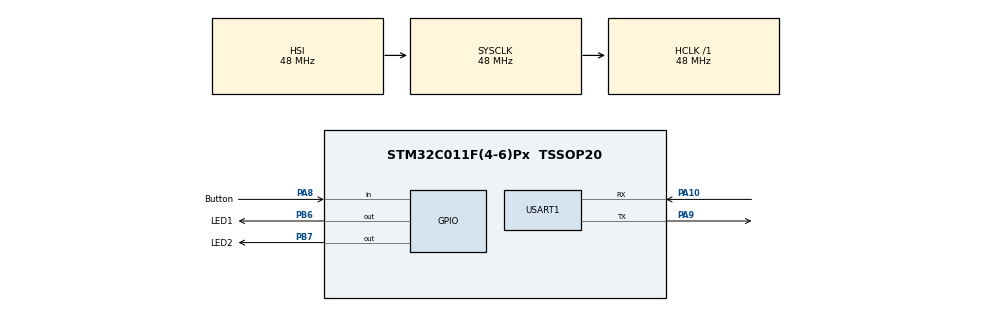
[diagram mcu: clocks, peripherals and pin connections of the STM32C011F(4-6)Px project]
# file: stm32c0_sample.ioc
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Mcu.Family=STM32C0
Mcu.Name=STM32C011F(4-6)Px
Mcu.Package=TSSOP20
PA10\ [PA12].Mode=Asynchronous
PA10\ [PA12].Signal=USART1_RX
PA13.Mode=Serial_Wire
PA13.Signal=DEBUG_SWDIO
PA14-BOOT0.Mode=Serial_Wire
PA14-BOOT0.Signal=DEBUG_SWCLK
PA8.GPIO_Label=Button
PA8.GPIO_PuPd=GPIO_PULLUP
PA8.Signal=GPIO_Input
PA9\ [PA11].Mode=Asynchronous
PA9\ [PA11].Signal=USART1_TX
PB6.GPIO_Label=LED1
PB6.Signal=GPIO_Output
PB7.GPIO_Label=LED2
PB7.Signal=GPIO_Output
ProjectManager.HeapSize=0x200
ProjectManager.StackSize=0x400
ProjectManager.TargetToolchain=STM32CubeIDE
RCC.ADCFreq_Value=48000000
RCC.AHBFreq_Value=48000000
RCC.CortexFreq_Value=48000000
RCC.EXTERNAL_CLOCK_VALUE=12288000
RCC.HCLKFreq_Value=48000000
RCC.HSE_VALUE=8000000
RCC.HSISYSCLKDivider=RCC_HSI_DIV1
RCC.HSI_VALUE=48000000
RCC.LSE_VALUE=32768
RCC.SYSCLKFreq_VALUE=48000000
USART1.VirtualMode-Asynchronous=VM_ASYNC
VP_SYS_VS_PINREMAP.Mode=PINREMAP
VP_SYS_VS_PINREMAP_10_12.Mode=PINREMAP_10_12
board=custom

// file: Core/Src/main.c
/* USER CODE BEGIN Header */
/**
 ******************************************************************************
 * @file           : main.c
 * @brief          : Main program body
 ******************************************************************************
 * @attention
 *
 * Copyright (c) 2024 STMicroelectronics.
 * All rights reserved.
 *
 * This software is licensed under terms that can be found in the LICENSE file
 * in the root directory of this software component.
 * If no LICENSE file comes with this software, it is provided AS-IS.
 *
 ******************************************************************************
 */
/* USER CODE END Header */
#include "main.h"

#include "gpio.h"
#include "stm32c0xx_hal.h"
#include "stm32c0xx_hal_gpio.h"
#include "usart.h"

/* USER CODE BEGIN Includes */
#include <strings.h>
#include <stdio.h>

#include "device/gpio_pin.h"
#include "dummy.h"

/* USER CODE END Includes */

void SystemClock_Config(void);

int main(void) {

  /* MCU Configuration--------------------------------------------------------*/

  /* Reset of all peripherals, Initializes the Flash interface and the Systick. */
  HAL_Init();

  /* Configure the system clock */
  SystemClock_Config();

  /* Initialize all configured peripherals */
  MX_GPIO_Init();
  MX_USART1_UART_Init();

  /* Infinite loop */
  /* USER CODE BEGIN WHILE */

  const Gpio led_1 = {GPIOB, LED1_Pin};
  const Gpio led_2 = {LED2_GPIO_Port, LED2_Pin};
  const Gpio button = {Button_GPIO_Port, Button_Pin};

  GpioSetLow(&led_1);

  uint8_t msg[20] = "";
  uint8_t count = 0;

  count = DummyFunction(1);

  while (1) {
    GpioToggle(&led_1);

    if (GpioGetLevel(&button) == kGpioLevelLow) {
      GpioSetHigh(&led_2);
    } else {
      GpioSetLow(&led_2);
    }

    snprintf((char*)msg, 20, "Hello world %u\r\n", count++);
    HAL_UART_Transmit(&huart1, msg, sizeof(msg), 100);

    HAL_Delay(500);

    /* USER CODE END WHILE */

  }
}

void SystemClock_Config(void) {
  RCC_OscInitTypeDef RCC_OscInitStruct = {0};
  RCC_ClkInitTypeDef RCC_ClkInitStruct = {0};

  /** Initializes the RCC Oscillators according to the specified parameters
   * in the RCC_OscInitTypeDef structure.
   */
  RCC_OscInitStruct.OscillatorType = RCC_OSCILLATORTYPE_HSI;
  RCC_OscInitStruct.HSIState = RCC_HSI_ON;
  RCC_OscInitStruct.HSIDiv = RCC_HSI_DIV1;
  RCC_OscInitStruct.HSICalibrationValue = RCC_HSICALIBRATION_DEFAULT;
  if (HAL_RCC_OscConfig(&RCC_OscInitStruct) != HAL_OK) {
    Error_Handler();
  }

  /** Initializes the CPU, AHB and APB buses clocks
   */
  RCC_ClkInitStruct.ClockType = RCC_CLOCKTYPE_HCLK | RCC_CLOCKTYPE_SYSCLK | RCC_CLOCKTYPE_PCLK1;
  RCC_ClkInitStruct.SYSCLKSource = RCC_SYSCLKSOURCE_HSI;
  RCC_ClkInitStruct.SYSCLKDivider = RCC_SYSCLK_DIV1;
  RCC_ClkInitStruct.AHBCLKDivider = RCC_HCLK_DIV1;
  RCC_ClkInitStruct.APB1CLKDivider = RCC_APB1_DIV1;

  if (HAL_RCC_ClockConfig(&RCC_ClkInitStruct, FLASH_LATENCY_1) != HAL_OK) {
    Error_Handler();
  }
}

void Error_Handler(void) {
  __disable_irq();
  while (1) {}
}
